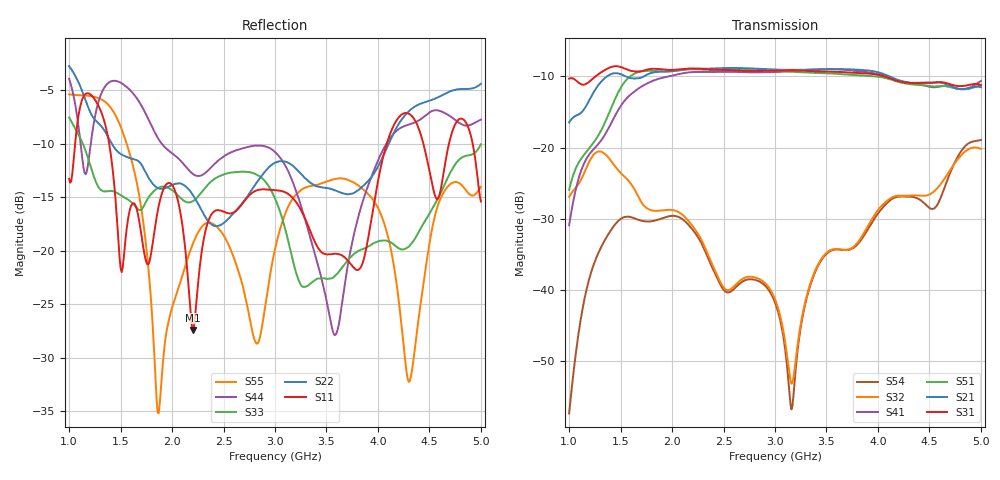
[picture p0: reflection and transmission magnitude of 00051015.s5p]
! AWR Design Environment (19377) Sat Dec 27 02:21:50 2025
! Document = 'EM_Extract_4_way'
! nPorts: 5, nXvals: 401
! Created with skrf 1.8.0 (http://scikit-rf.org).
# GHz S RI R 50.0
!freq ReS11 ImS11 ReS12 ImS12 ReS13 ImS13
! ReS14 ImS14 ReS15 ImS15
! ReS21 ImS21 ReS22 ImS22 ReS23 ImS23
! ReS24 ImS24 ReS25 ImS25
! ReS31 ImS31 ReS32 ImS32 ReS33 ImS33
! ReS34 ImS34 ReS35 ImS35
! ReS41 ImS41 ReS42 ImS42 ReS43 ImS43
! ReS44 ImS44 ReS45 ImS45
! ReS51 ImS51 ReS52 ImS52 ReS53 ImS53
! ReS54 ImS54 ReS55 ImS55
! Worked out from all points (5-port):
!   401 points, 1 GHz to 5 GHz, reference 50 ohm
!   strongest paths, dB at 1 GHz, 2 GHz, 3 GHz, 4 GHz, 5 GHz:
!     S31: -10.3, -9.1, -9.2, -9.8, -11.2
!     S21: -16.5, -9.2, -9.0, -9.4, -11.5
!     S51: -25.9, -9.3, -9.2, -10.0, -11.2
!     S41: -30.9, -9.9, -9.4, -9.6, -10.7
!     S32: -26.9, -28.8, -41.3, -28.8, -20.2
!     S54: -57.4, -29.6, -41.8, -29.3, -18.9
!   lowest |S11| = -27.4 dB at 2.2 GHz (marker M1), VSWR 1.09, Z = 54 - j1.99 ohm
!   |S11| at or under -10 dB: 1.389 GHz to 4.086 GHz (2.697 GHz wide, 98.5 % of centre); 4.441 GHz to 4.69 GHz (248.7 MHz wide, 5.45 % of centre); 4.92 GHz to end of sweep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
